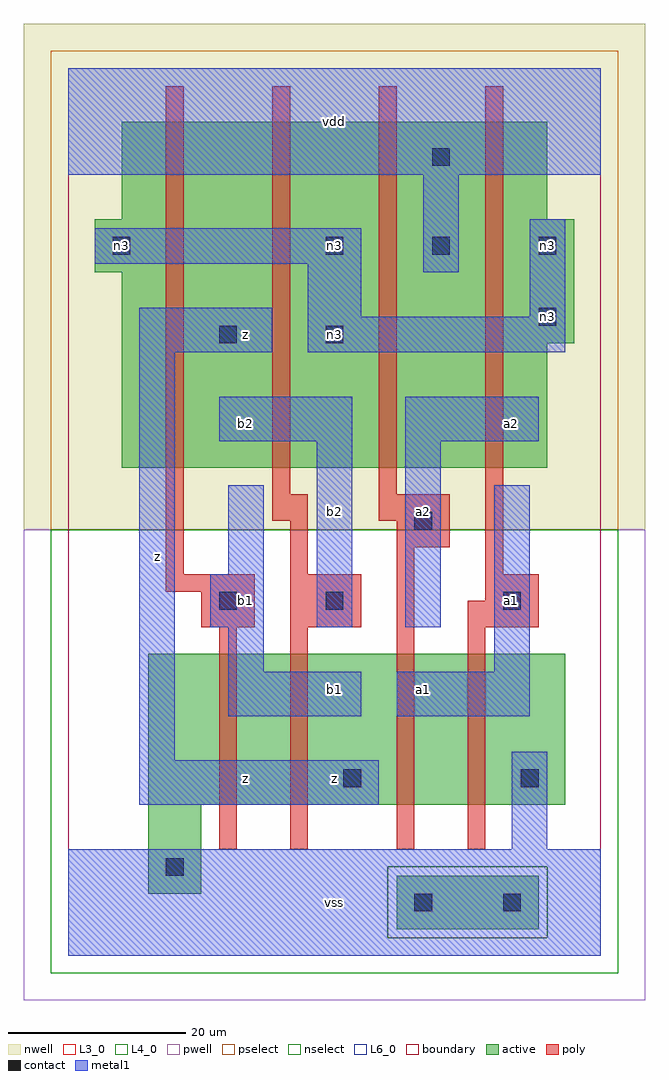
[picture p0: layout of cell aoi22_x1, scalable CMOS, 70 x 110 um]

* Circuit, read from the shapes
.subckt aoi22_x1 a1 a2 b1 b2 n3 vdd vss z
M1 n1 b1 vss vss nfet w=17u l=2u
M2 z b2 n1 vss nfet w=17u l=2u
M3 n2 a2 z vss nfet w=17u l=2u
M4 vss a1 n2 vss nfet w=17u l=2u
M5 z b1 n3 n4 pfet w=39u l=2u
M6 n3 b2 z n4 pfet w=39u l=2u
M7 vdd a2 n3 n4 pfet w=39u l=2u
M8 n3 a1 vdd n4 pfet w=39u l=2u
.ends

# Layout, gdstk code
import gdstk
lib = gdstk.Library(unit=1e-6, precision=1e-09)
def R(c, l, rs):  # rectangles x0, y0, x1, y1
    for r in rs: c.add(gdstk.rectangle(r[:2], r[2:], *l))
def A(c, l, x, y, w, h, nx, ny, dx, dy):  # array of equal rectangles
    R(c, l, [(x+i*dx, y+j*dy, x+i*dx+w, y+j*dy+h) for i in range(nx) for j in range(ny)])
L3_0 = (3, 0)
L4_0 = (4, 0)
L6_0 = (6, 0)
contact = (25, 0)
pwell = (41, 0)
nwell = (42, 0)
active = (43, 0)
pselect = (44, 0)
nselect = (45, 0)
poly = (46, 0)
metal1 = (49, 0)
boundary = (63, 0)

aoi22_x1 = lib.new_cell('aoi22_x1')
R(aoi22_x1, L3_0, [(9,7,15,17), (9,17,56,34)])
R(aoi22_x1, L4_0, [(6,55,54,69), (6,69,57,77), (3,77,57,83), (6,83,54,94)])
R(aoi22_x1, L6_0, [(37,3,53,9)])
A(aoi22_x1, contact, 29, 79, 2, 2, 3, 1, 12, 0)
R(aoi22_x1, contact, [(39,5,41,7), (49,5,51,7), (11,9,13,11), (31,19,33,21), (51,19,53,21), (17,39,19,41), (29,39,31,41), (49,39,51,41), (39,48,41,50), (17,69,19,71), (29,69,31,71), (53,71,55,73), (5,79,7,81), (41,89,43,91)])
R(aoi22_x1, pwell, [(-5,-5,65,48)])
R(aoi22_x1, nwell, [(-5,48,65,105)])
R(aoi22_x1, active, [(37,3,53,9), (9,7,15,17), (9,17,56,34), (6,55,54,69), (6,69,57,77), (3,77,57,83), (6,83,54,94)])
R(aoi22_x1, pselect, [(36,2,54,10), (-2,48,62,102)])
R(aoi22_x1, nselect, [(-2,-2,62,2), (-2,2,36,10), (54,2,62,10), (-2,10,62,48)])
R(aoi22_x1, poly, [(17,12,19,37), (25,12,27,37), (37,12,39,46), (45,12,47,37), (15,37,21,41), (25,37,33,43), (45,37,53,40), (47,40,53,43), (11,41,21,43), (11,43,13,98), (25,43,27,49), (47,43,49,98), (37,46,43,49), (23,49,27,52), (35,49,43,52), (23,52,25,98), (35,52,37,98)])
R(aoi22_x1, metal1, [(0,0,60,12), (50,12,54,23), (8,17,35,22), (8,22,12,68), (18,27,33,32), (37,27,52,32), (18,32,22,37), (48,32,52,53), (16,37,22,43), (28,37,32,58), (38,37,42,58), (18,43,22,53), (17,58,32,63), (38,58,53,63), (8,68,23,73), (27,68,56,72), (27,72,33,78), (52,72,56,83), (40,77,44,88), (3,78,33,82), (0,88,60,100)])
R(aoi22_x1, boundary, [(0,0,60,100)])
aoi22_x1.add(gdstk.Label('n3', (6,80), layer=49, texttype=0))
aoi22_x1.add(gdstk.Label('n3', (30,80), layer=49, texttype=0))
aoi22_x1.add(gdstk.Label('n3', (30,70), layer=49, texttype=0))
aoi22_x1.add(gdstk.Label('n3', (54,72), layer=49, texttype=0))
aoi22_x1.add(gdstk.Label('n3', (54,80), layer=49, texttype=0))
aoi22_x1.add(gdstk.Label('z', (10,45), layer=49, texttype=0))
aoi22_x1.add(gdstk.Label('z', (20,20), layer=49, texttype=0))
aoi22_x1.add(gdstk.Label('b1', (20,40), layer=49, texttype=0))
aoi22_x1.add(gdstk.Label('z', (20,70), layer=49, texttype=0))
aoi22_x1.add(gdstk.Label('b2', (20,60), layer=49, texttype=0))
aoi22_x1.add(gdstk.Label('z', (30,20), layer=49, texttype=0))
aoi22_x1.add(gdstk.Label('vss', (30,6), layer=49, texttype=0))
aoi22_x1.add(gdstk.Label('b1', (30,30), layer=49, texttype=0))
aoi22_x1.add(gdstk.Label('a1', (40,30), layer=49, texttype=0))
aoi22_x1.add(gdstk.Label('a2', (40,50), layer=49, texttype=0))
aoi22_x1.add(gdstk.Label('b2', (30,50), layer=49, texttype=0))
aoi22_x1.add(gdstk.Label('vdd', (30,94), layer=49, texttype=0))
aoi22_x1.add(gdstk.Label('a1', (50,40), layer=49, texttype=0))
aoi22_x1.add(gdstk.Label('a2', (50,60), layer=49, texttype=0))

lib.write_gds('aoi22_x1.gds')
